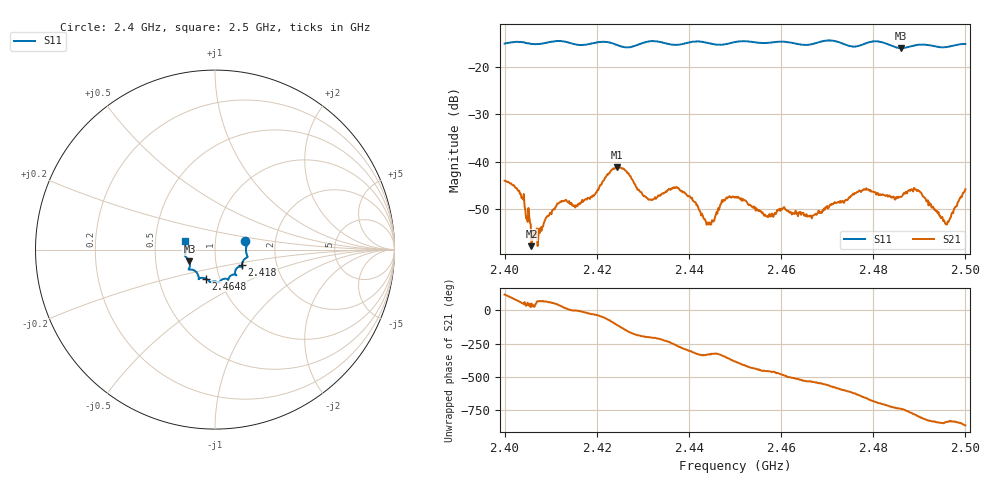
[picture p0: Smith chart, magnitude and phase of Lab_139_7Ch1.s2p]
# Hz S RI R 50
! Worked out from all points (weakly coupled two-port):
!   601 points, 2.4 GHz to 2.5 GHz, reference 50 ohm
!   highest |S21| = -41.16 dB at 2.4243 GHz (marker M1); lowest = -57.8 dB at 2.4058 GHz (marker M2)
!   lowest |S11| = -16.1 dB at 2.486 GHz (marker M3), VSWR 1.37, Z = 37.2 - j4.95 ohm
!   |S11| at or under -10 dB: start of sweep to end of sweep
!   S12 and S22 are empty: the file has one direction only
!   S11 on the Smith chart (normalised r, x): 2.4 GHz: 1.40, +0.13; 2.418 GHz: 1.33, -0.23; 2.4648 GHz: 0.86, -0.29; 2.5 GHz: 0.71, +0.07
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2.4e9  0.1687 0.0464  -0.00307 0.00549  0 0  0 0
2.403667e9  0.179 0.0295  0.00229 0.00345  0 0  0 0
2.405833e9  0.1727 0.0108  0.000788 0.00101  0 0  0 0
2.407667e9  0.1732 -0.0116  0.000611 0.00167  0 0  0 0
2.412e9  0.182 -0.0412  0.00303 0.00217  0 0  0 0
2.416667e9  0.1546 -0.0678  0.00369 -0.00061  0 0  0 0
2.418e9  0.1499 -0.0834  0.00389 -0.00145  0 0  0 0
2.424333e9  0.1406 -0.095  -0.00283 -0.00828  0 0  0 0
2.430667e9  0.1155 -0.1405  -0.004 0.00142  0 0  0 0
2.433333e9  0.1179 -0.141  -0.0037 0.00238  0 0  0 0
2.437667e9  0.0851 -0.1473  5.45e-05 0.00527  0 0  0 0
2.444333e9  0.0665 -0.1635  0.00189 0.00108  0 0  0 0
2.45e9  0.0256 -0.1801  0.00386 -0.00176  0 0  0 0
2.456667e9  -0.00639 -0.1775  -0.000271 -0.00266  0 0  0 0
2.464833e9  -0.0507 -0.1621  -0.00283 -0.000568  0 0  0 0
2.466667e9  -0.0711 -0.1571  -0.00252 -9.47e-05  0 0  0 0
2.478e9  -0.1331 -0.111  0.00209 0.00469  0 0  0 0
2.483333e9  -0.1411 -0.0967  0.00434 0.000166  0 0  0 0
2.486e9  -0.1426 -0.0648  0.00397 -0.00154  0 0  0 0
2.4895e9  -0.1648 -0.0388  0.00138 -0.0047  0 0  0 0
2.496e9  -0.1603 0.0161  -0.000975 -0.00194  0 0  0 0
2.5e9  -0.167 0.047  -0.00419 -0.00292  0 0  0 0
